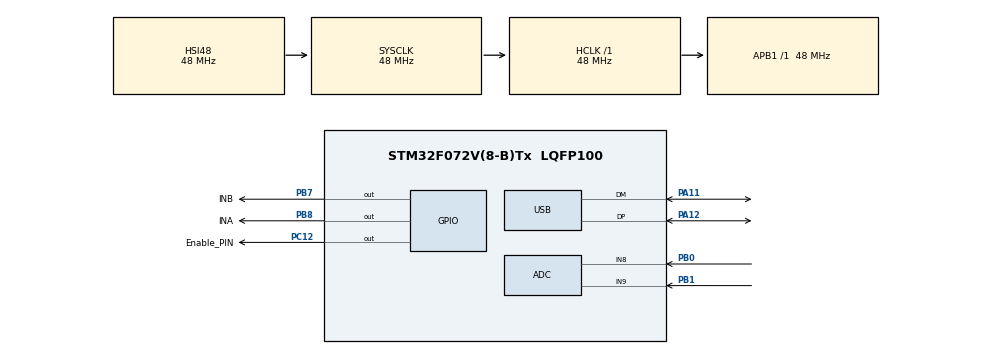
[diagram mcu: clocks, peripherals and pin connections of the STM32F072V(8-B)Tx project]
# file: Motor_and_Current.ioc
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Mcu.Family=STM32F0
Mcu.Name=STM32F072V(8-B)Tx
Mcu.Package=LQFP100
NVIC.USB_IRQn=true\:0\:0\:false\:false\:true\:false\:true\:true
PA11.Mode=Device
PA11.Signal=USB_DM
PA12.Mode=Device
PA12.Signal=USB_DP
PB0.Mode=IN8
PB0.Signal=ADC_IN8
PB1.Mode=IN9
PB1.Signal=ADC_IN9
PB7.GPIO_Label=INB
PB7.Signal=GPIO_Output
PB8.GPIO_Label=INA
PB8.Signal=GPIO_Output
PC12.GPIO_Label=Enable_PIN
PC12.Signal=GPIO_Output
ProjectManager.HeapSize=0x200
ProjectManager.StackSize=0x400
ProjectManager.TargetToolchain=STM32CubeIDE
RCC.AHBFreq_Value=48000000
RCC.APB1Freq_Value=48000000
RCC.APB1TimFreq_Value=48000000
RCC.HCLKFreq_Value=48000000
RCC.PLLSourceVirtual=RCC_PLLSOURCE_HSI48
RCC.SYSCLKFreq_VALUE=48000000
RCC.SYSCLKSource=RCC_SYSCLKSOURCE_HSI48
USB_DEVICE.CLASS_NAME_FS=CDC
USB_DEVICE.VirtualMode=Cdc
USB_DEVICE.VirtualModeFS=Cdc_FS
VP_USB_DEVICE_VS_USB_DEVICE_CDC_FS.Mode=CDC_FS
board=custom

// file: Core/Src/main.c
/* USER CODE BEGIN Header */
/**
  ******************************************************************************
  * @file           : main.c
  * @brief          : Main program body
  ******************************************************************************
  * @attention
  *
  * Copyright (c) 2023 STMicroelectronics.
  * All rights reserved.
  *
  * This software is licensed under terms that can be found in the LICENSE file
  * in the root directory of this software component.
  * If no LICENSE file comes with this software, it is provided AS-IS.
  *
  ******************************************************************************
  */
/* USER CODE END Header */
#include "main.h"
#include "usb_device.h"

ADC_HandleTypeDef hadc;

void SystemClock_Config(void);
static void MX_GPIO_Init(void);
static void MX_ADC_Init(void);

int main(void)
{
  /* USER CODE BEGIN 1 */
	char data[64] = {0};
  /* USER CODE END 1 */

  /* MCU Configuration--------------------------------------------------------*/

  /* Reset of all peripherals, Initializes the Flash interface and the Systick. */
  HAL_Init();

  /* Configure the system clock */
  SystemClock_Config();

  /* Initialize all configured peripherals */
  MX_GPIO_Init();
  MX_ADC_Init();
  MX_USB_DEVICE_Init();
  /* USER CODE BEGIN 2 */
  HAL_Delay (1000);
  HAL_GPIO_WritePin(INB_GPIO_Port, INB_Pin, GPIO_PIN_SET);

  ADC_Select_CH8();

  // Start ADC Conversion
  HAL_ADC_Start(&hadc);
  // Poll ADC1 Peripheral & TimeOut = 1mSec
   HAL_ADC_PollForConversion(&hadc, 10);

   uint32_t adc_val = HAL_ADC_GetValue(&hadc); // get the adc value

  float Vref_PB0 = adc_val * 3.3/4096;

  HAL_GPIO_WritePin(INA_GPIO_Port, INA_Pin, GPIO_PIN_SET);

  ADC_Select_CH9();
  // Start ADC Conversion
   HAL_ADC_Start(&hadc);
  // Poll ADC1 Peripheral & TimeOut = 1mSec
   HAL_ADC_PollForConversion(&hadc, 10);

  adc_val = HAL_ADC_GetValue(&hadc); // get the adc value
  float Vref_PB1 = adc_val * 3.3/4096;

  HAL_Delay (1000);

  /* USER CODE END 2 */

  /* Infinite loop */
  /* USER CODE BEGIN WHILE */

  // PB7 low >> -
  HAL_GPIO_WritePin(Enable_PIN_GPIO_Port, Enable_PIN_Pin, GPIO_PIN_SET);

   /*Configure GPIO pin Output Level */
  HAL_GPIO_WritePin(INB_GPIO_Port, INB_Pin, GPIO_PIN_RESET);
  HAL_GPIO_WritePin(INA_GPIO_Port, INA_Pin, GPIO_PIN_RESET);

  double voltage  = 0;
  double current = 0;
  //double ref = 0.467; //reference voltage (volts) when 0 current is flowing
  double sensitivity = 0.2 ; // volts/Amp

  while (1)
  {    // Start ADC Conversion
      // Start ADC Conversion
		   ADC_Select_CH8();
		   HAL_ADC_Start(&hadc);
		  // Poll ADC1 Peripheral & TimeOut = 1mSec
		   HAL_ADC_PollForConversion(&hadc, 10);

		   adc_val = HAL_ADC_GetValue(&hadc); // get the adc value

		   voltage = adc_val * 3.3/4096; //reference voltage (volts) when 0 current is flowing

		   current = (voltage - Vref_PB0)/sensitivity;

		   int len = sprintf(data, "Current_PB1(Amp) %0.3f voltage_PB1(volts) %0.3f \r\n",current,voltage);

		   CDC_Transmit_FS(data, len);

		   HAL_ADC_Stop(&hadc);

		   ADC_Select_CH9();
	       HAL_ADC_Start(&hadc);
	      // Poll ADC1 Peripheral & TimeOut = 1mSec
	       HAL_ADC_PollForConversion(&hadc, 10);

	       adc_val = HAL_ADC_GetValue(&hadc); // get the adc value

	       voltage = adc_val * 3.3/4096; //reference voltage (volts) when 0 current is flowing

	       current = (voltage - Vref_PB1)/sensitivity;

	       len = sprintf(data, "Current_PB0(Amp) %0.3f voltage_PB0(volts) %0.3f \r\n",current,voltage);

		   CDC_Transmit_FS(data, len);

		   HAL_ADC_Stop(&hadc);

		   HAL_Delay (1000);

    /* USER CODE END WHILE */

  }
}

void SystemClock_Config(void)
{
  RCC_OscInitTypeDef RCC_OscInitStruct = {0};
  RCC_ClkInitTypeDef RCC_ClkInitStruct = {0};
  RCC_PeriphCLKInitTypeDef PeriphClkInit = {0};

  /** Initializes the RCC Oscillators according to the specified parameters
  * in the RCC_OscInitTypeDef structure.
  */
  RCC_OscInitStruct.OscillatorType = RCC_OSCILLATORTYPE_HSI14|RCC_OSCILLATORTYPE_HSI48;
  RCC_OscInitStruct.HSI48State = RCC_HSI48_ON;
  RCC_OscInitStruct.HSI14State = RCC_HSI14_ON;
  RCC_OscInitStruct.HSI14CalibrationValue = 16;
  RCC_OscInitStruct.PLL.PLLState = RCC_PLL_NONE;
  if (HAL_RCC_OscConfig(&RCC_OscInitStruct) != HAL_OK)
  {
    Error_Handler();
  }

  /** Initializes the CPU, AHB and APB buses clocks
  */
  RCC_ClkInitStruct.ClockType = RCC_CLOCKTYPE_HCLK|RCC_CLOCKTYPE_SYSCLK
                              |RCC_CLOCKTYPE_PCLK1;
  RCC_ClkInitStruct.SYSCLKSource = RCC_SYSCLKSOURCE_HSI48;
  RCC_ClkInitStruct.AHBCLKDivider = RCC_SYSCLK_DIV1;
  RCC_ClkInitStruct.APB1CLKDivider = RCC_HCLK_DIV1;

  if (HAL_RCC_ClockConfig(&RCC_ClkInitStruct, FLASH_LATENCY_1) != HAL_OK)
  {
    Error_Handler();
  }
  PeriphClkInit.PeriphClockSelection = RCC_PERIPHCLK_USB;
  PeriphClkInit.UsbClockSelection = RCC_USBCLKSOURCE_HSI48;

  if (HAL_RCCEx_PeriphCLKConfig(&PeriphClkInit) != HAL_OK)
  {
    Error_Handler();
  }
}

static void MX_ADC_Init(void)
{

  ADC_ChannelConfTypeDef sConfig = {0};

  /** Configure the global features of the ADC (Clock, Resolution, Data Alignment and number of conversion)
  */
  hadc.Instance = ADC1;
  hadc.Init.ClockPrescaler = ADC_CLOCK_ASYNC_DIV1;
  hadc.Init.Resolution = ADC_RESOLUTION_12B;
  hadc.Init.DataAlign = ADC_DATAALIGN_RIGHT;
  hadc.Init.ScanConvMode = ADC_SCAN_DIRECTION_FORWARD;
  hadc.Init.EOCSelection = ADC_EOC_SINGLE_CONV;
  hadc.Init.LowPowerAutoWait = DISABLE;
  hadc.Init.LowPowerAutoPowerOff = DISABLE;
  hadc.Init.ContinuousConvMode = DISABLE;
  hadc.Init.DiscontinuousConvMode = DISABLE;
  hadc.Init.ExternalTrigConv = ADC_SOFTWARE_START;
  hadc.Init.ExternalTrigConvEdge = ADC_EXTERNALTRIGCONVEDGE_NONE;
  hadc.Init.DMAContinuousRequests = DISABLE;
  hadc.Init.Overrun = ADC_OVR_DATA_PRESERVED;
  if (HAL_ADC_Init(&hadc) != HAL_OK)
  {
    Error_Handler();
  }

  /** Configure for the selected ADC regular channel to be converted.
  */
  sConfig.Channel = ADC_CHANNEL_8;
  sConfig.Rank = ADC_RANK_CHANNEL_NUMBER;
  sConfig.SamplingTime = ADC_SAMPLETIME_1CYCLE_5;
  if (HAL_ADC_ConfigChannel(&hadc, &sConfig) != HAL_OK)
  {
    Error_Handler();
  }

  /** Configure for the selected ADC regular channel to be converted.
  */
  sConfig.Channel = ADC_CHANNEL_9;
  if (HAL_ADC_ConfigChannel(&hadc, &sConfig) != HAL_OK)
  {
    Error_Handler();
  }

}

static void MX_GPIO_Init(void)
{
  GPIO_InitTypeDef GPIO_InitStruct = {0};

  /* GPIO Ports Clock Enable */
  __HAL_RCC_GPIOB_CLK_ENABLE();
  __HAL_RCC_GPIOA_CLK_ENABLE();
  __HAL_RCC_GPIOC_CLK_ENABLE();

  /*Configure GPIO pin Output Level */
  HAL_GPIO_WritePin(Enable_PIN_GPIO_Port, Enable_PIN_Pin, GPIO_PIN_RESET);

  /*Configure GPIO pin Output Level */
  HAL_GPIO_WritePin(GPIOB, INB_Pin|INA_Pin, GPIO_PIN_RESET);

  /*Configure GPIO pin : Enable_PIN_Pin */
  GPIO_InitStruct.Pin = Enable_PIN_Pin;
  GPIO_InitStruct.Mode = GPIO_MODE_OUTPUT_PP;
  GPIO_InitStruct.Pull = GPIO_NOPULL;
  GPIO_InitStruct.Speed = GPIO_SPEED_FREQ_LOW;
  HAL_GPIO_Init(Enable_PIN_GPIO_Port, &GPIO_InitStruct);

  /*Configure GPIO pins : INB_Pin INA_Pin */
  GPIO_InitStruct.Pin = INB_Pin|INA_Pin;
  GPIO_InitStruct.Mode = GPIO_MODE_OUTPUT_PP;
  GPIO_InitStruct.Pull = GPIO_NOPULL;
  GPIO_InitStruct.Speed = GPIO_SPEED_FREQ_LOW;
  HAL_GPIO_Init(GPIOB, &GPIO_InitStruct);

}

/* USER CODE BEGIN 4 */
void ADC_Select_CH8 (void)
{
	ADC_ChannelConfTypeDef sConfig = {0};
	  /** Configure for the selected ADC regular channel its corresponding rank in the sequencer and its sample time.
	  */
	sConfig.Channel = ADC_CHANNEL_9;
			  sConfig.Rank = ADC_RANK_NONE;
			  sConfig.SamplingTime = ADC_SAMPLETIME_1CYCLE_5;
			  if (HAL_ADC_ConfigChannel(&hadc, &sConfig) != HAL_OK)
			  {
			    Error_Handler();
			  }

	  sConfig.Channel = ADC_CHANNEL_8;
	  sConfig.Rank = ADC_RANK_CHANNEL_NUMBER;
	  sConfig.SamplingTime = ADC_SAMPLETIME_1CYCLE_5;
	  if (HAL_ADC_ConfigChannel(&hadc, &sConfig) != HAL_OK)
	  {
	    Error_Handler();
	  }
}
void ADC_Select_CH9 (void)
{
	ADC_ChannelConfTypeDef sConfig = {0};
	  /** Configure for the selected ADC regular channel its corresponding rank in the sequencer and its sample time.
	  */
	sConfig.Channel = ADC_CHANNEL_8;
		  sConfig.Rank = ADC_RANK_NONE;
		  sConfig.SamplingTime = ADC_SAMPLETIME_1CYCLE_5;
		  if (HAL_ADC_ConfigChannel(&hadc, &sConfig) != HAL_OK)
		  {
		    Error_Handler();
		  }

	  sConfig.Channel = ADC_CHANNEL_9;
	  sConfig.Rank = ADC_RANK_CHANNEL_NUMBER;
	  sConfig.SamplingTime = ADC_SAMPLETIME_1CYCLE_5;
	  if (HAL_ADC_ConfigChannel(&hadc, &sConfig) != HAL_OK)
	  {
	    Error_Handler();
	  }
}

/* USER CODE END 4 */

void Error_Handler(void)
{
  __disable_irq();
  while (1)
  {
  }
}
